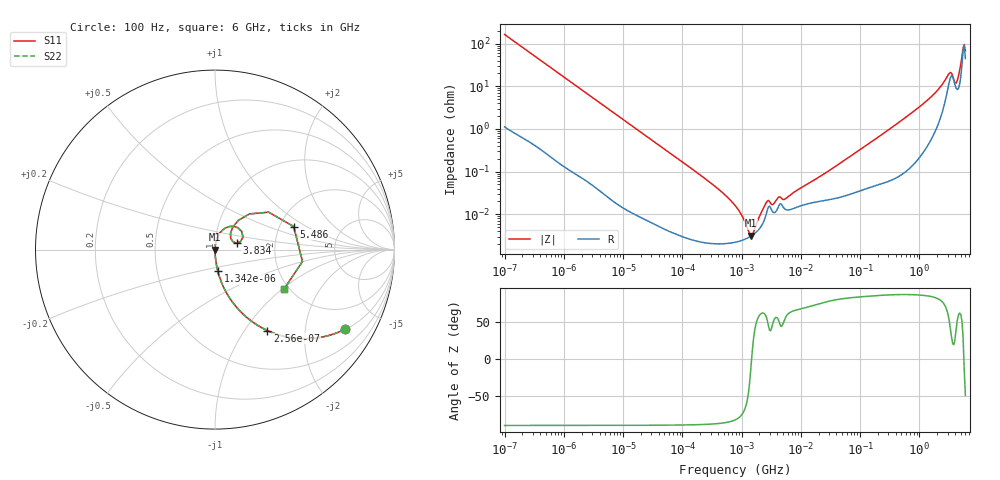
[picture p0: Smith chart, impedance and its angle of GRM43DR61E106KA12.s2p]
!Murata Part Number: GRM43DR61E106KA12
!These Parameters are Measured in Series Mode Connection
!Data Generated on Mar 30, 2021
!  o--ll--o
!Port1  Port2
!  o------o
!Operation Temp=25[degC], DC Bias Voltage=0[V]
!Freq. Start=100[Hz] Stop=6[GHz] 401[Steps]
# Hz S RI R 50
!Freq.(Hz) S11(Real) S11(Imag) S21(Real) S21(Imag) S12(Real) S12(Imag) S22(Real) S22(Imag)
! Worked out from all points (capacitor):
!   401 points, 100 Hz to 6 GHz, reference 50 ohm
!   read as one part in series: C = 9.73 uF near 109 Hz
!   lowest |Z| = 3.13 mohm at 1.45 MHz (marker M1)
!   series resonance near 1.479 MHz, so ESL is about 1.2 nH
!   S11 on the Smith chart (normalised r, x): 100 Hz: 1.02, -3.27; 256 Hz: 1.01, -1.28; 1.342 kHz: 1.00, -0.25; 3.834 GHz: 1.27, +0.09; 5.486 GHz: 2.39, +0.77; 6 GHz: 1.89, -1.03
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100  0.726 -0.4426  0.274 0.4426  0.274 0.4426  0.726 -0.4426
256  0.2924 -0.4509  0.7076 0.4509  0.7076 0.4509  0.2924 -0.4509
524  0.0917 -0.2846  0.9083 0.2846  0.9083 0.2846  0.0917 -0.2846
1342  0.0159 -0.1212  0.9841 0.1212  0.9841 0.1212  0.0159 -0.1212
2008  0.00746 -0.0819  0.9925 0.0819  0.9925 0.0819  0.00746 -0.0819
40335  6.86e-05 -0.00417  0.9999 0.00417  0.9999 0.00417  6.86e-05 -0.00417
330837  2.06e-05 -0.000488  1 0.000488  1 0.000488  2.06e-05 -0.000488
774597  2.2e-05 -0.00016  1 0.00016  1 0.00016  2.2e-05 -0.00016
1013323  2.44e-05 -8.99e-05  1 8.99e-05  1 8.99e-05  2.44e-05 -8.99e-05
1449809  3.1e-05 -4.6e-06  1 4.6e-06  1 4.6e-06  3.1e-05 -4.6e-06
1983483  4.51e-05 7.34e-05  1 -7.34e-05  1 -7.34e-05  4.51e-05 7.34e-05
2713602  0.000123 0.00016  0.9999 -0.00016  0.9999 -0.00016  0.000123 0.00016
5554849  0.000129 0.000194  0.9999 -0.000194  0.9999 -0.000194  0.000129 0.000194
1.555665e7  0.000186 0.000565  0.9998 -0.000565  0.9998 -0.000565  0.000186 0.000565
3.124326e8  0.000695 0.0098  0.9993 -0.0098  0.9993 -0.0098  0.000695 0.0098
1.431855e9  0.00676 0.0489  0.9932 -0.0489  0.9932 -0.0489  0.00676 0.0489
3.065283e9  0.1043 0.1295  0.8957 -0.1295  0.8957 -0.1295  0.1043 0.1295
3.8344e9  0.1198 0.0363  0.8802 -0.0363  0.8802 -0.0363  0.1198 0.0363
4.385646e9  0.0865 0.0919  0.9135 -0.0919  0.9135 -0.0919  0.0865 0.0919
5.016141e9  0.1912 0.1987  0.8088 -0.1987  0.8088 -0.1987  0.1912 0.1987
5.486059e9  0.4386 0.1282  0.5614 -0.1282  0.5614 -0.1282  0.4386 0.1282
6e9  0.3855 -0.2182  0.6145 0.2182  0.6145 0.2182  0.3855 -0.2182
